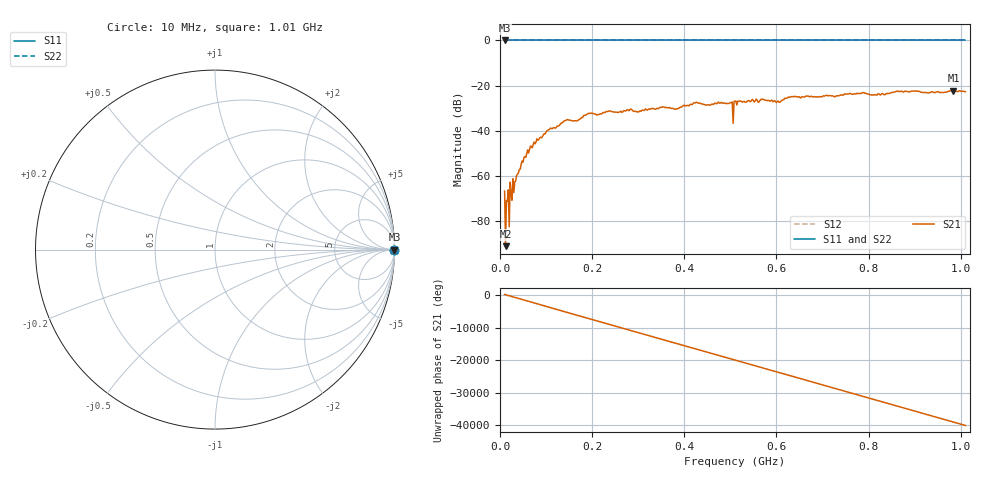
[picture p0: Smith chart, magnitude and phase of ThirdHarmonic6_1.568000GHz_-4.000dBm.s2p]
! 8/16/2025 6:38:16 PM
! C:\ANRITSUVNA\TEMP\TEMP.S2P
! CHANNEL.1
! TR.MEASUREMENT
! RAW.DATA
! RF.CORRECTION.OFF
! AVERAGING.OFF
! IF.BANDWIDTH: 5KHZ
! SWEEPTYPE:  FREQ.SWEEP(Linear)
! Reference Plane Port Info
! PORT:  PORT1  PORT2
! DISTANCE:  0  m  0  m
! TIME:  0  s  0  s
! PHASE.OFFSET:  0  deg.  0  deg.
! LOSS:  0  dB  0  dB
! REF.LOSS:  0  dB  0  dB
! REF.FREQ:  0  Hz  0  Hz
! Power Info
! POWER:  -20  dBm  -20  dBm
! EFF.POWER:  -20  dBm  -20  dBm
! SOURCE.ATTEN:  0  dB  0  dB
! TEST.ATTEN:  0  dB  0  dB
# GHZ S RI R 50.0
! FREQ.GHZ  S11RE  S11IM  S21RE  S21IM  S12RE  S12IM  S22RE  S22IM
!; PortSelection: Port_12
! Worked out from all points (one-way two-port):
!   501 points, 10 MHz to 1.01 GHz, reference 50 ohm
!   highest |S21| = -22.28 dB at 984 MHz (marker M1); lowest = -91.3 dB at 12 MHz (marker M2)
!   lowest |S11| = 0.0 dB at 10 MHz (marker M3)
!   |S11| at or under -10 dB: nowhere
!   |S22| runs from 0.0 to 0.0 dB; largest |S21 - S12| = 1.1
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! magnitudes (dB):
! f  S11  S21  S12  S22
! 10 MHz  0.0  -66.8  0.0  0.0
! 12 MHz  0.0  -91.3  0.0  0.0
! 16 MHz  0.0  -71.3  0.0  0.0
! 18 MHz  0.0  -66.3  0.0  0.0
! 24 MHz  0.0  -67.8  0.0  0.0
! 50 MHz  0.0  -54.0  0.0  0.0
! 76 MHz  0.0  -45.9  0.0  0.0
! 142 MHz  0.0  -35.5  0.0  0.0
! 178 MHz  0.0  -34.3  0.0  0.0
! 344 MHz  0.0  -30.3  0.0  0.0
! 382 MHz  0.0  -30.4  0.0  0.0
! 424 MHz  0.0  -27.7  0.0  0.0
! 500 MHz  0.0  -27.6  0.0  0.0
! 502 MHz  0.0  -27.6  0.0  0.0
! 510 MHz  0.0  -26.9  0.0  0.0
! 512 MHz  0.0  -26.9  0.0  0.0
! 520 MHz  0.0  -26.9  0.0  0.0
! 604 MHz  0.0  -26.9  0.0  0.0
! 678 MHz  0.0  -25.0  0.0  0.0
! 844 MHz  0.0  -23.5  0.0  0.0
! 984 MHz  0.0  -22.3  0.0  0.0
! 1.01 GHz  0.0  -22.7  0.0  0.0
